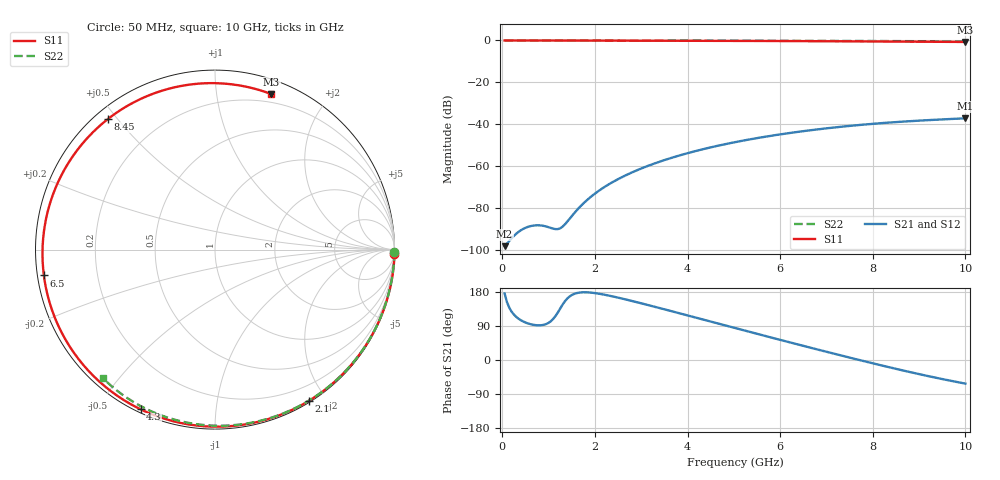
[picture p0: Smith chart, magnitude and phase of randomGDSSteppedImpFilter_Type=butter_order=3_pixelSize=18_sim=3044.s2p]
! freq	dB(S11)	phase(S11)	dB(S12)	phase(S12)
!  dB(S21)	phase(S21)	dB(S22)	phase(S22)
!S-par simulation data
#  GHz  S  DB  R 50
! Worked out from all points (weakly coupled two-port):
!   200 points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, 50 MHz to 10 GHz, reference 50 ohm
!   highest |S21| = -37.10 dB at 10 GHz (marker M1); lowest = -98.0 dB at 50 MHz (marker M2)
!   lowest |S11| = -0.7 dB at 10 GHz (marker M3), VSWR 24.46, Z = 6.17 + j70.9 ohm
!   |S11| at or under -10 dB: nowhere
!   |S22| runs from -0.4 to 0.0 dB; largest |S21 - S12| = 0
!   S11 on the Smith chart (normalised r, x): 50 MHz: 0, -80; 2.1 GHz: 0.02, -1.79; 4.3 GHz: 0.01, -0.64; 6.5 GHz: 0.02, -0.07; 8.45 GHz: 0.04, +0.47; 10 GHz: 0.12, +1.42
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0.05  -0.00 -1.4  -98.02 175.7  -98.02 175.7  -0.00 -0.8
0.8  -0.02 -22.7  -88.08 91.5  -88.08 91.5  -0.01 -12.1
1.6  -0.06 -44.8  -81.11 176.3  -81.11 176.3  -0.03 -23.9
1.65  -0.06 -46.2  -79.90 177.6  -79.90 177.6  -0.03 -24.7
1.75  -0.06 -48.9  -77.66 178.7  -77.66 178.7  -0.03 -26.1
2.1  -0.07 -58.3  -71.38 174.7  -71.38 174.7  -0.04 -31.2
2.65  -0.09 -72.9  -64.41 160.3  -64.41 160.3  -0.05 -39.2
3.4  -0.12 -92.3  -57.74 137.0  -57.74 137.0  -0.07 -49.7
4.3  -0.16 -115.0  -52.00 108.0  -52.00 108.0  -0.09 -62.1
5.05  -0.20 -133.8  -48.35 83.6  -48.35 83.6  -0.11 -72.0
5.8  -0.26 -152.9  -45.43 59.5  -45.43 59.5  -0.14 -81.6
6.5  -0.32 -171.4  -43.21 37.3  -43.21 37.3  -0.17 -90.4
6.7  -0.33 -176.9  -42.65 31.0  -42.65 31.0  -0.18 -92.8
7.15  -0.38 170.3  -41.50 17.1  -41.50 17.1  -0.20 -98.2
7.55  -0.42 158.4  -40.60 4.8  -40.60 4.8  -0.23 -103.0
7.95  -0.47 145.9  -39.81 -7.3  -39.81 -7.3  -0.26 -107.7
8.35  -0.52 132.7  -39.13 -19.0  -39.13 -19.0  -0.29 -112.3
8.45  -0.53 129.2  -38.97 -21.9  -38.97 -21.9  -0.29 -113.5
8.85  -0.58 115.0  -38.39 -33.2  -38.39 -33.2  -0.33 -118.1
9.25  -0.63 100.0  -37.90 -43.9  -37.90 -43.9  -0.37 -122.6
9.65  -0.67 84.3  -37.46 -54.0  -37.46 -54.0  -0.41 -127.1
10  -0.71 70.1  -37.10 -62.3  -37.10 -62.3  -0.44 -131.1
